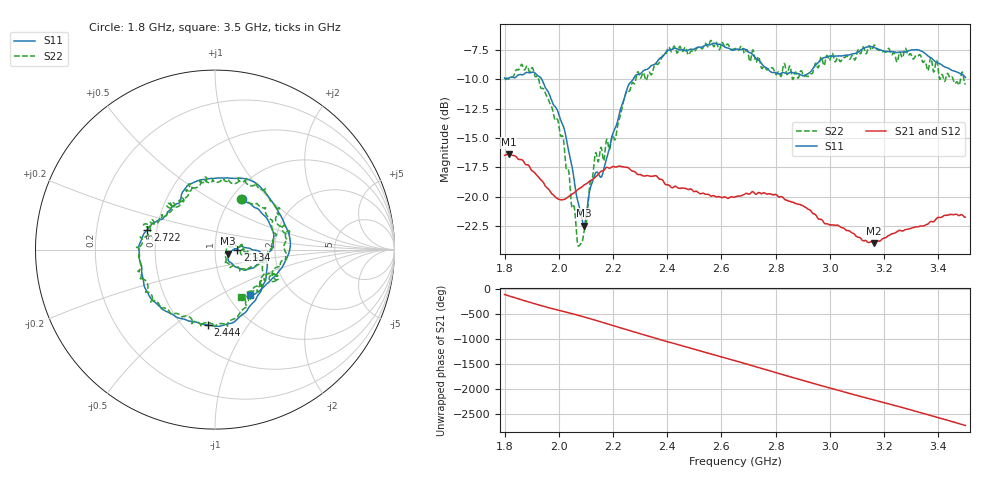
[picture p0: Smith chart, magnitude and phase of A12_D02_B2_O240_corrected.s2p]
! Created with skrf 1.9.0 (http://scikit-rf.org).
# Hz S RI R 50.0
!freq ReS11 ImS11 ReS21 ImS21 ReS12 ImS12 ReS22 ImS22
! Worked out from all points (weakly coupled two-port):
!   1601 points, 1.8 GHz to 3.5 GHz, reference 50 ohm
!   highest |S21| = -16.39 dB at 1.816 GHz (marker M1); lowest = -24.0 dB at 3.163 GHz (marker M2)
!   lowest |S11| = -22.4 dB at 2.093 GHz (marker M3), VSWR 1.16, Z = 57.7 - j2.55 ohm
!   |S11| at or under -10 dB: 1.937 GHz to 2.274 GHz (337.5 MHz wide, 16 % of centre)
!   |S22| runs from -24.2 to -6.7 dB; largest |S21 - S12| = 0.0025
!   S11 on the Smith chart (normalised r, x): 1.8 GHz: 1.13, +0.71; 2.134 GHz: 1.29, -0.01; 2.444 GHz: 0.66, -0.67; 2.722 GHz: 0.44, +0.11; 3.5 GHz: 1.26, -0.72
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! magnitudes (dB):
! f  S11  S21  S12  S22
! 1.8 GHz  -9.9  -16.5  -16.5  -10.0
! 1.816 GHz  -9.9  -16.4  -16.4  -10.0
! 1.902 GHz  -9.4  -17.8  -17.8  -9.0
! 1.966 GHz  -11.3  -19.4  -19.5  -12.0
! 2.021 GHz  -14.3  -20.2  -20.2  -16.1
! 2.07 GHz  -20.3  -19.4  -19.4  -24.1
! 2.084 GHz  -21.7  -19.2  -19.2  -23.9
! 2.093 GHz  -22.4  -19.0  -19.0  -22.9
! 2.134 GHz  -18.1  -18.4  -18.3  -16.4
! 2.162 GHz  -18.0  -17.8  -17.7  -16.7
! 2.209 GHz  -14.1  -17.5  -17.4  -15.1
! 2.259 GHz  -10.4  -17.6  -17.6  -11.0
! 2.367 GHz  -8.4  -18.4  -18.4  -8.7
! 2.444 GHz  -7.5  -19.3  -19.3  -7.3
! 2.65 GHz  -7.5  -20.0  -20.0  -7.4
! 2.722 GHz  -8.1  -19.7  -19.6  -8.1
! 2.788 GHz  -9.4  -19.8  -19.8  -9.0
! 2.934 GHz  -9.2  -21.3  -21.3  -9.5
! 3.163 GHz  -7.3  -24.0  -23.9  -7.1
! 3.217 GHz  -7.7  -23.3  -23.3  -7.4
! 3.331 GHz  -7.6  -22.5  -22.5  -7.9
! 3.5 GHz  -9.8  -21.7  -21.7  -10.3
